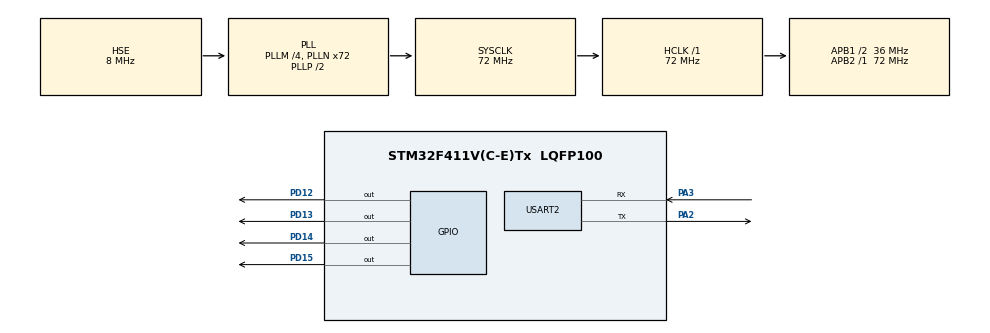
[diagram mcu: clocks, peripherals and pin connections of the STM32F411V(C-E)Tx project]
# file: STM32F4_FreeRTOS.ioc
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FREERTOS.Tasks01=defaultTask,24,128,StartDefaultTask,Default,NULL,Dynamic,NULL,NULL
FREERTOS.configENABLE_FPU=1
Mcu.Family=STM32F4
Mcu.Name=STM32F411V(C-E)Tx
Mcu.Package=LQFP100
NVIC.PriorityGroup=NVIC_PRIORITYGROUP_4
NVIC.USART2_IRQn=true\:5\:0\:false\:false\:true\:true\:true\:true\:true
PA2.Mode=Asynchronous
PA2.Signal=USART2_TX
PA3.Mode=Asynchronous
PA3.Signal=USART2_RX
PD12.Signal=GPIO_Output
PD13.Signal=GPIO_Output
PD14.Signal=GPIO_Output
PD15.Signal=GPIO_Output
PH0\ -\ OSC_IN.Mode=HSE-External-Oscillator
PH0\ -\ OSC_IN.Signal=RCC_OSC_IN
PH1\ -\ OSC_OUT.Mode=HSE-External-Oscillator
PH1\ -\ OSC_OUT.Signal=RCC_OSC_OUT
ProjectManager.HeapSize=0x200
ProjectManager.StackSize=0x400
ProjectManager.TargetToolchain=MDK-ARM V5.32
RCC.48MHZClocksFreq_Value=36000000
RCC.AHBFreq_Value=72000000
RCC.APB1CLKDivider=RCC_HCLK_DIV2
RCC.APB1Freq_Value=36000000
RCC.APB1TimFreq_Value=72000000
RCC.APB2Freq_Value=72000000
RCC.APB2TimFreq_Value=72000000
RCC.CortexFreq_Value=72000000
RCC.HCLKFreq_Value=72000000
RCC.HSE_VALUE=8000000
RCC.HSI_VALUE=16000000
RCC.LSE_VALUE=32768
RCC.PLLM=4
RCC.PLLN=72
RCC.PLLSourceVirtual=RCC_PLLSOURCE_HSE
RCC.SYSCLKFreq_VALUE=72000000
RCC.SYSCLKSource=RCC_SYSCLKSOURCE_PLLCLK
RCC.VCOOutputFreq_Value=144000000
USART2.VirtualMode=VM_ASYNC
VP_FREERTOS_VS_CMSIS_V2.Mode=CMSIS_V2
board=custom

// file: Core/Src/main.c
/* USER CODE BEGIN Header */
/**
  ******************************************************************************
  * @file           : main.c
  * @brief          : Main program body
  ******************************************************************************
  * @attention
  *
  * Copyright (c) 2025 STMicroelectronics.
  * All rights reserved.
  *
  * This software is licensed under terms that can be found in the LICENSE file
  * in the root directory of this software component.
  * If no LICENSE file comes with this software, it is provided AS-IS.
  *
  ******************************************************************************
  */
/* USER CODE END Header */
#include "main.h"
#include "cmsis_os.h"

/* USER CODE BEGIN Includes */
#include "stdio.h"
/* USER CODE END Includes */

UART_HandleTypeDef huart2;

/* Definitions for defaultTask */
osThreadId_t defaultTaskHandle;
const osThreadAttr_t defaultTask_attributes = {
  .name = "defaultTask",
  .stack_size = 128 * 4,
  .priority = (osPriority_t) osPriorityNormal,
};
/* USER CODE BEGIN PV */
osThreadId_t appTaskCreateHandle;
const osThreadAttr_t appTaskCreate_attributes = {
  .name = "appTaskCreate",
  .stack_size = 128*4,
  .priority = (osPriority_t) osPriorityNormal,
};

osThreadId_t led1TaskHandle;
const osThreadAttr_t led1Task_attributes = {
  .name = "led1Task",
  .stack_size = 128*4,
  .priority = (osPriority_t) osPriorityNormal,
};

osThreadId_t led2TaskHandle;
const osThreadAttr_t led2Task_attributes = {
  .name = "led2Task",
  .stack_size = 128*4,
  .priority = (osPriority_t) osPriorityNormal,
};

/* USER CODE END PV */

void SystemClock_Config(void);
static void MX_GPIO_Init(void);
static void MX_USART2_UART_Init(void);
void StartDefaultTask(void *argument);

/* USER CODE BEGIN PFP */
static void AppCreateTask( void *parameter );
static void LED1_Task(void* parameter);
static void LED2_Task(void* parameter);

static void AppCreateTask( void *parameter )
{
    taskENTER_CRITICAL();

    led1TaskHandle = osThreadNew(LED1_Task, NULL, &led1Task_attributes);

    if( led1TaskHandle != NULL )
    {
        printf("Create LED1_Task successfully. \r\n");
    }

    led2TaskHandle = osThreadNew(LED2_Task, NULL, &led2Task_attributes);

    if( led2TaskHandle != NULL )
    {
        printf("Create LED2_Task successfully. \r\n");
    }

    vTaskDelete( appTaskCreateHandle );

    taskEXIT_CRITICAL();
}

static void LED1_Task(void* parameter)
{
    while(1)
    {
        HAL_GPIO_WritePin(GPIOD, GPIO_PIN_13, GPIO_PIN_SET);
        osDelay(500);

        HAL_GPIO_WritePin(GPIOD, GPIO_PIN_13, GPIO_PIN_RESET);
        osDelay(500);
    }
}

static void LED2_Task(void* parameter)
{
    while(1)
    {
        HAL_GPIO_WritePin(GPIOD, GPIO_PIN_12, GPIO_PIN_SET);
        osDelay(1000);

        HAL_GPIO_WritePin(GPIOD, GPIO_PIN_12, GPIO_PIN_RESET);
        osDelay(1000);
    }
}

/* USER CODE END PFP */

int main(void)
{

  /* MCU Configuration--------------------------------------------------------*/

  /* Reset of all peripherals, Initializes the Flash interface and the Systick. */
  HAL_Init();

  /* Configure the system clock */
  SystemClock_Config();

  /* Initialize all configured peripherals */
  MX_GPIO_Init();
  MX_USART2_UART_Init();
  /* USER CODE BEGIN 2 */
  printf("STM32F4_FreeRTOS: System Init successfully. \r\n");
  /* USER CODE END 2 */

  /* Init scheduler */
  osKernelInitialize();

  /* USER CODE BEGIN RTOS_MUTEX */
  /* add mutexes, ... */
  printf("STM32F4_FreeRTOS: Scheduler Init successfully. \r\n");
  /* USER CODE END RTOS_MUTEX */

  /* Create the thread(s) */
  /* creation of defaultTask */
  defaultTaskHandle = osThreadNew(StartDefaultTask, NULL, &defaultTask_attributes);

  /* USER CODE BEGIN RTOS_THREADS */
  /* add threads, ... */
  appTaskCreateHandle = osThreadNew(AppCreateTask, NULL, &appTaskCreate_attributes);

  if( appTaskCreateHandle != NULL)
      printf("STM32F4_FreeRTOS: appTaskCreate created. \r\n");
  else
      printf("STM32F4_FreeRTOS: Failed to create appTaskCreate. \r\n");
  /* USER CODE END RTOS_THREADS */

  /* Start scheduler */
  osKernelStart();

  /* We should never get here as control is now taken by the scheduler */

  /* Infinite loop */
  while (1)
  {

  }
}

void SystemClock_Config(void)
{
  RCC_OscInitTypeDef RCC_OscInitStruct = {0};
  RCC_ClkInitTypeDef RCC_ClkInitStruct = {0};

  /** Configure the main internal regulator output voltage
  */
  __HAL_RCC_PWR_CLK_ENABLE();
  __HAL_PWR_VOLTAGESCALING_CONFIG(PWR_REGULATOR_VOLTAGE_SCALE1);

  /** Initializes the RCC Oscillators according to the specified parameters
  * in the RCC_OscInitTypeDef structure.
  */
  RCC_OscInitStruct.OscillatorType = RCC_OSCILLATORTYPE_HSE;
  RCC_OscInitStruct.HSEState = RCC_HSE_ON;
  RCC_OscInitStruct.PLL.PLLState = RCC_PLL_ON;
  RCC_OscInitStruct.PLL.PLLSource = RCC_PLLSOURCE_HSE;
  RCC_OscInitStruct.PLL.PLLM = 4;
  RCC_OscInitStruct.PLL.PLLN = 72;
  RCC_OscInitStruct.PLL.PLLP = RCC_PLLP_DIV2;
  RCC_OscInitStruct.PLL.PLLQ = 4;
  if (HAL_RCC_OscConfig(&RCC_OscInitStruct) != HAL_OK)
  {
    Error_Handler();
  }

  /** Initializes the CPU, AHB and APB buses clocks
  */
  RCC_ClkInitStruct.ClockType = RCC_CLOCKTYPE_HCLK|RCC_CLOCKTYPE_SYSCLK
                              |RCC_CLOCKTYPE_PCLK1|RCC_CLOCKTYPE_PCLK2;
  RCC_ClkInitStruct.SYSCLKSource = RCC_SYSCLKSOURCE_PLLCLK;
  RCC_ClkInitStruct.AHBCLKDivider = RCC_SYSCLK_DIV1;
  RCC_ClkInitStruct.APB1CLKDivider = RCC_HCLK_DIV2;
  RCC_ClkInitStruct.APB2CLKDivider = RCC_HCLK_DIV1;

  if (HAL_RCC_ClockConfig(&RCC_ClkInitStruct, FLASH_LATENCY_2) != HAL_OK)
  {
    Error_Handler();
  }
}

static void MX_USART2_UART_Init(void)
{

  huart2.Instance = USART2;
  huart2.Init.BaudRate = 115200;
  huart2.Init.WordLength = UART_WORDLENGTH_8B;
  huart2.Init.StopBits = UART_STOPBITS_1;
  huart2.Init.Parity = UART_PARITY_NONE;
  huart2.Init.Mode = UART_MODE_TX_RX;
  huart2.Init.HwFlowCtl = UART_HWCONTROL_NONE;
  huart2.Init.OverSampling = UART_OVERSAMPLING_16;
  if (HAL_UART_Init(&huart2) != HAL_OK)
  {
    Error_Handler();
  }

}

static void MX_GPIO_Init(void)
{
  GPIO_InitTypeDef GPIO_InitStruct = {0};

  /* GPIO Ports Clock Enable */
  __HAL_RCC_GPIOH_CLK_ENABLE();
  __HAL_RCC_GPIOA_CLK_ENABLE();
  __HAL_RCC_GPIOD_CLK_ENABLE();

  /*Configure GPIO pin Output Level */
  HAL_GPIO_WritePin(GPIOD, GPIO_PIN_12|GPIO_PIN_13|GPIO_PIN_14|GPIO_PIN_15, GPIO_PIN_RESET);

  /*Configure GPIO pins : PD12 PD13 PD14 PD15 */
  GPIO_InitStruct.Pin = GPIO_PIN_12|GPIO_PIN_13|GPIO_PIN_14|GPIO_PIN_15;
  GPIO_InitStruct.Mode = GPIO_MODE_OUTPUT_PP;
  GPIO_InitStruct.Pull = GPIO_NOPULL;
  GPIO_InitStruct.Speed = GPIO_SPEED_FREQ_LOW;
  HAL_GPIO_Init(GPIOD, &GPIO_InitStruct);

}

/* USER CODE BEGIN 4 */
int fputc(int ch, FILE* f)
{
    HAL_UART_Transmit( &huart2, ( uint8_t* ) &ch, 1, 0xffff);
    return ch;
}
/* USER CODE END 4 */

void StartDefaultTask(void *argument)
{
  for(;;)
  {
  }
}

void Error_Handler(void)
{
  __disable_irq();
  while (1)
  {
  }
}
